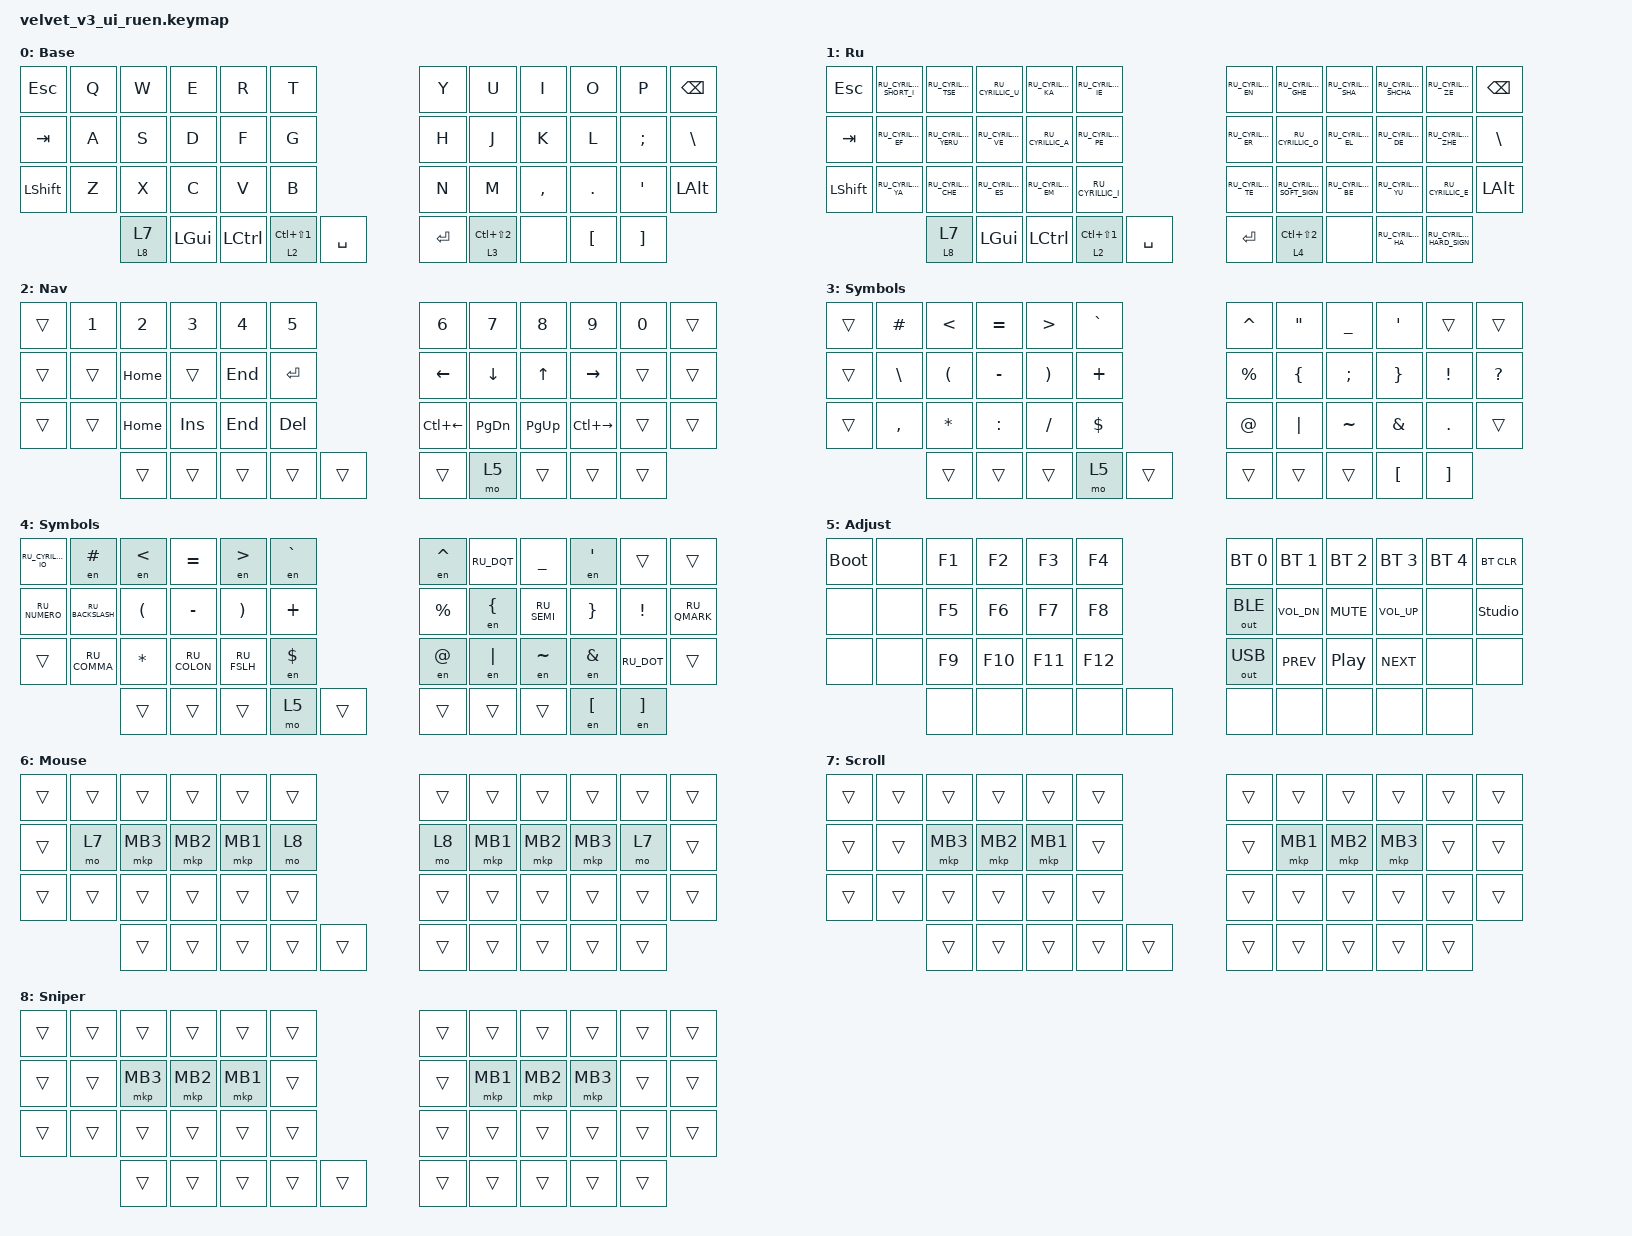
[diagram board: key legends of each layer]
#include "keys_ru.h"
#include <dt-bindings/zmk/input_transform.h>
#include <input/processors.dtsi>
#include <zephyr/dt-bindings/input/input-event-codes.h>
#include <behaviors.dtsi>
#include <dt-bindings/zmk/bt.h>
#include <dt-bindings/zmk/keys.h>
#include <dt-bindings/zmk/outputs.h>
#include <dt-bindings/zmk/pointing.h>

/ {
    behaviors {
        cap_sen: cap_sen {
            compatible = "zmk,behavior-hold-tap";
            label = "CAP_SEN";
            bindings = <&mo>, <&mkp>;

            #binding-cells = <2>;
            tapping-term-ms = <150>;
            hold-while-undecided;
        };

        tball_mode: tball_mode {
            compatible = "zmk,behavior-hold-tap";
            label = "TBALL_MODE";
            bindings = <&mo>, <&tog>;

            #binding-cells = <2>;
            tapping-term-ms = <180>;
            flavor = "tap-preferred";
        };

        sticky_mouse: sticky_mouse {
            compatible = "zmk,behavior-hold-tap";
            label = "STICKY_MOUSE";
            bindings = <&kp>, <&sl>;

            #binding-cells = <2>;
            tapping-term-ms = <150>;
        };
    };

    combos {
        compatible = "zmk,combos";

        cmben {
            bindings = <&layer_en>;
            key-positions = <3 4>;
            layers = <1>;
        };

        cmbru {
            bindings = <&layer_ru>;
            key-positions = <3 4>;
            layers = <0>;
        };

        mousebutton1 {
            bindings = <&mkp MB1>;
            key-positions = <16 15>;
        };

        mousebutton2 {
            bindings = <&mkp MB2>;
            key-positions = <15 14>;
        };

        mousebutton3 {
            bindings = <&mkp MB3>;
            key-positions = <16 14>;
        };

        mousescroll {
            bindings = <&mo 7>;
            key-positions = <16 15 14>;
        };
    };

    macros {
        to_ru: to_ru {
            compatible = "zmk,behavior-macro";
            #binding-cells = <0>;
            bindings = <&kp LS(LC(N2))>;
            label = "TO_RU";
            wait-ms = <0>;
            tap-ms = <30>;
        };

        to_en: to_en {
            compatible = "zmk,behavior-macro";
            #binding-cells = <0>;
            bindings = <&kp LS(LC(N1))>;
            label = "TO_EN";
            wait-ms = <0>;
            tap-ms = <30>;
        };

        layer_en: layer_en {
            compatible = "zmk,behavior-macro";
            #binding-cells = <0>;
            bindings = <&to 0 &to_en>;
            label = "LAYER_EN";
            wait-ms = <0>;
            tap-ms = <30>;
        };

        layer_ru: layer_ru {
            compatible = "zmk,behavior-macro";
            #binding-cells = <0>;
            bindings = <&to 1 &to_ru>;
            label = "LAYER_RU";
            tap-ms = <30>;
            wait-ms = <0>;
        };

        en: en {
            compatible = "zmk,behavior-macro-one-param";
            #binding-cells = <1>;
            bindings =
                <&to_en>,
                <&macro_press>,
                <&macro_param_1to1 &kp MACRO_PLACEHOLDER>,
                <&macro_pause_for_release>,
                <&macro_release>,
                <&macro_param_1to1 &kp MACRO_PLACEHOLDER>,
                <&macro_tap>,
                <&to_ru>;

            label = "EN";
            wait-ms = <0>;
            tap-ms = <30>;
        };
    };

    keymap {
        compatible = "zmk,keymap";

        en {
            bindings = <
&kp ESC    &kp Q  &kp W            &kp E     &kp R      &kp T                                         &kp Y                   &kp U  &kp I      &kp O     &kp P     &kp BSPC
&kp TAB    &kp A  &kp S            &kp D     &kp F      &kp G                                         &kp H                   &kp J  &kp K      &kp L     &kp SEMI  &kp BSLH
&kp LSHFT  &kp Z  &kp X            &kp C     &kp V      &kp B                                         &kp N                   &kp M  &kp COMMA  &kp DOT   &kp SQT   &kp LALT
                  &tball_mode 8 7  &kp LGUI  &kp LCTRL  &lt 2 LC(LS(NUMBER_1))  &kp SPACE    &kp RET  &lt 3 LC(LS(NUMBER_2))  &none  &kp LBKT   &kp RBKT
            >;

            display-name = "Base";
        };

        ru {
            display-name = "Ru";
            bindings = <
&kp ESC    &kp RU_CYRILLIC_SHORT_I  &kp RU_CYRILLIC_TSE   &kp RU_CYRILLIC_U   &kp RU_CYRILLIC_KA  &kp RU_CYRILLIC_IE                        &kp RU_CYRILLIC_EN      &kp RU_CYRILLIC_GHE        &kp RU_CYRILLIC_SHA  &kp RU_CYRILLIC_SHCHA      &kp RU_CYRILLIC_ZE   &kp BSPC
&kp TAB    &kp RU_CYRILLIC_EF       &kp RU_CYRILLIC_YERU  &kp RU_CYRILLIC_VE  &kp RU_CYRILLIC_A   &kp RU_CYRILLIC_PE                        &kp RU_CYRILLIC_ER      &kp RU_CYRILLIC_O          &kp RU_CYRILLIC_EL   &kp RU_CYRILLIC_DE         &kp RU_CYRILLIC_ZHE  &kp BSLH
&kp LSHFT  &kp RU_CYRILLIC_YA       &kp RU_CYRILLIC_CHE   &kp RU_CYRILLIC_ES  &kp RU_CYRILLIC_EM  &kp RU_CYRILLIC_I                         &kp RU_CYRILLIC_TE      &kp RU_CYRILLIC_SOFT_SIGN  &kp RU_CYRILLIC_BE   &kp RU_CYRILLIC_YU         &kp RU_CYRILLIC_E    &kp LEFT_ALT
                                    &tball_mode 8 7       &kp LGUI            &kp LCTRL           &lt 2 LC(LS(N1))    &kp SPACE    &kp RET  &lt 4 LC(LS(NUMBER_2))  &none                      &kp RU_CYRILLIC_HA   &kp RU_CYRILLIC_HARD_SIGN
            >;
        };

        nav {
            bindings = <
&trans  &kp N1  &kp N2    &kp N3   &kp N4   &kp N5                     &kp N6        &kp N7     &kp N8     &kp N9           &kp N0  &trans
&trans  &trans  &kp HOME  &trans   &kp END  &kp RET                    &kp LEFT      &kp DOWN   &kp UP     &kp RIGHT_ARROW  &trans  &trans
&trans  &trans  &kp HOME  &kp INS  &kp END  &kp DEL                    &kp LC(LEFT)  &kp PG_DN  &kp PG_UP  &kp LC(RIGHT)    &trans  &trans
                &trans    &trans   &trans   &trans   &trans    &trans  &mo 5         &trans     &trans     &trans
            >;

            display-name = "Nav";
        };

        sym_en {
            bindings = <
&trans  &kp HASH   &kp LT    &kp EQUAL  &kp GT    &kp GRAVE                    &kp CARET  &kp DQT   &kp UNDER  &kp SQT   &trans    &trans
&trans  &kp BSLH   &kp LPAR  &kp MINUS  &kp RPAR  &kp PLUS                     &kp PRCNT  &kp LBRC  &kp SEMI   &kp RBRC  &kp EXCL  &kp QUESTION
&trans  &kp COMMA  &kp STAR  &kp COLON  &kp FSLH  &kp DLLR                     &kp AT     &kp PIPE  &kp TILDE  &kp AMPS  &kp DOT   &trans
                   &trans    &trans     &trans    &mo 5      &trans    &trans  &trans     &trans    &kp LBKT   &kp RBKT
            >;

            display-name = "Symbols";
        };

        sym_ru {
            display-name = "Symbols";
            bindings = <
&kp RU_CYRILLIC_IO  &en HASH          &en LT    &kp EQUAL     &en GT       &en GRAVE                    &en CARET  &kp RU_DQT  &kp UNDER    &en SQT   &trans      &trans
&kp RU_NUMERO       &kp RU_BACKSLASH  &kp LPAR  &kp MINUS     &kp RPAR     &kp PLUS                     &kp PRCNT  &en LBRC    &kp RU_SEMI  &kp RBRC  &kp EXCL    &kp RU_QMARK
&trans              &kp RU_COMMA      &kp STAR  &kp RU_COLON  &kp RU_FSLH  &en DLLR                     &en AT     &en PIPE    &en TILDE    &en AMPS  &kp RU_DOT  &trans
                                      &trans    &trans        &trans       &mo 5      &trans    &trans  &trans     &trans      &en LBKT     &en RBKT
            >;
        };

        adj {
            bindings = <
&bootloader  &none  &kp F1  &kp F2   &kp F3   &kp F4                   &bt BT_SEL 0  &bt BT_SEL 1  &bt BT_SEL 2      &bt BT_SEL 3  &bt BT_SEL 4  &bt BT_CLR
&none        &none  &kp F5  &kp F6   &kp F7   &kp F8                   &out OUT_BLE  &kp C_VOL_DN  &kp C_MUTE        &kp C_VOL_UP  &none         &studio_unlock
&none        &none  &kp F9  &kp F10  &kp F11  &kp F12                  &out OUT_USB  &kp C_PREV    &kp C_PLAY_PAUSE  &kp C_NEXT    &none         &none
                    &none   &none    &none    &none    &none    &none  &none         &none         &none             &none
            >;

            display-name = "Adjust";
        };

        mouse {
            bindings = <
&trans  &trans  &trans    &trans    &trans    &trans                    &trans  &trans    &trans    &trans    &trans  &trans
&trans  &mo 7   &mkp MB3  &mkp MB2  &mkp MB1  &mo 8                     &mo 8   &mkp MB1  &mkp MB2  &mkp MB3  &mo 7   &trans
&trans  &trans  &trans    &trans    &trans    &trans                    &trans  &trans    &trans    &trans    &trans  &trans
                &trans    &trans    &trans    &trans  &trans    &trans  &trans  &trans    &trans    &trans
            >;

            display-name = "Mouse";
        };

        scroll {
            bindings = <
&trans  &trans  &trans    &trans    &trans    &trans                    &trans  &trans    &trans    &trans    &trans  &trans
&trans  &trans  &mkp MB3  &mkp MB2  &mkp MB1  &trans                    &trans  &mkp MB1  &mkp MB2  &mkp MB3  &trans  &trans
&trans  &trans  &trans    &trans    &trans    &trans                    &trans  &trans    &trans    &trans    &trans  &trans
                &trans    &trans    &trans    &trans  &trans    &trans  &trans  &trans    &trans    &trans
            >;

            display-name = "Scroll";
        };

        sniper {
            bindings = <
&trans  &trans  &trans    &trans    &trans    &trans                    &trans  &trans    &trans    &trans    &trans  &trans
&trans  &trans  &mkp MB3  &mkp MB2  &mkp MB1  &trans                    &trans  &mkp MB1  &mkp MB2  &mkp MB3  &trans  &trans
&trans  &trans  &trans    &trans    &trans    &trans                    &trans  &trans    &trans    &trans    &trans  &trans
                &trans    &trans    &trans    &trans  &trans    &trans  &trans  &trans    &trans    &trans
            >;

            display-name = "Sniper";
        };
    };
};

&trackball { cpi = <1000>; };

&trackball_listener {
    input-processors = <&zip_xy_scaler 9 20>;

    scroller {
        layers = <7>;
        input-processors =
            <&zip_xy_transform INPUT_TRANSFORM_Y_INVERT>,
            <&zip_xy_scaler 1 32>,
            <&zip_xy_to_scroll_mapper>;
    };

    sniper {
        layers = <8>;
        input-processors = <&zip_xy_scaler 1 4>;
    };
};
